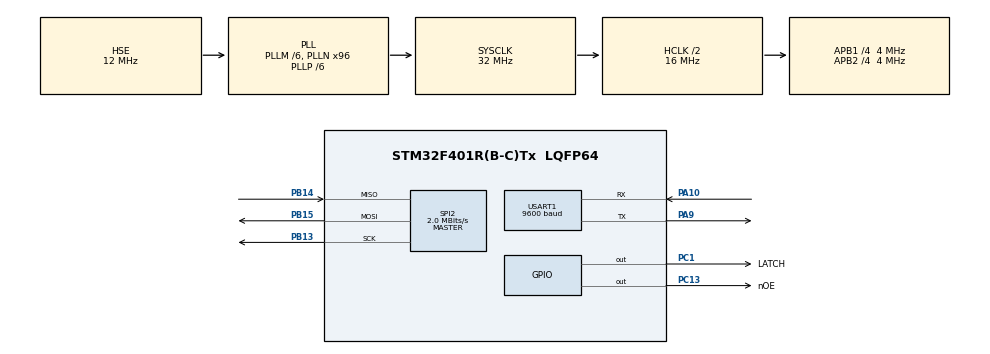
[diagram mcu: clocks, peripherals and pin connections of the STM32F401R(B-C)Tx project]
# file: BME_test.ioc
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Mcu.Family=STM32F4
Mcu.Name=STM32F401R(B-C)Tx
Mcu.Package=LQFP64
NVIC.PriorityGroup=NVIC_PRIORITYGROUP_4
PA10.Mode=Asynchronous
PA10.Signal=USART1_RX
PA9.Mode=Asynchronous
PA9.Signal=USART1_TX
PB13.Mode=Full_Duplex_Master
PB13.Signal=SPI2_SCK
PB14.Mode=Full_Duplex_Master
PB14.Signal=SPI2_MISO
PB15.Mode=Full_Duplex_Master
PB15.Signal=SPI2_MOSI
PC1.GPIO_Label=LATCH
PC1.Signal=GPIO_Output
PC13-ANTI_TAMP.GPIO_Label=nOE
PC13-ANTI_TAMP.Signal=GPIO_Output
PH0\ -\ OSC_IN.Mode=HSE-External-Oscillator
PH0\ -\ OSC_IN.Signal=RCC_OSC_IN
PH1\ -\ OSC_OUT.Mode=HSE-External-Oscillator
PH1\ -\ OSC_OUT.Signal=RCC_OSC_OUT
ProjectManager.HeapSize=0x200
ProjectManager.StackSize=0x400
ProjectManager.TargetToolchain=STM32CubeIDE
RCC.48MHZClocksFreq_Value=48000000
RCC.AHBCLKDivider=RCC_SYSCLK_DIV2
RCC.AHBFreq_Value=16000000
RCC.APB1CLKDivider=RCC_HCLK_DIV4
RCC.APB1Freq_Value=4000000
RCC.APB1TimFreq_Value=8000000
RCC.APB2CLKDivider=RCC_HCLK_DIV4
RCC.APB2Freq_Value=4000000
RCC.APB2TimFreq_Value=8000000
RCC.CortexFreq_Value=2000000
RCC.Cortex_Div=SYSTICK_CLKSOURCE_HCLK_DIV8
RCC.HCLKFreq_Value=16000000
RCC.HSE_VALUE=12000000
RCC.HSI_VALUE=16000000
RCC.LSE_VALUE=32768
RCC.PLLM=6
RCC.PLLN=96
RCC.PLLP=RCC_PLLP_DIV6
RCC.PLLSourceVirtual=RCC_PLLSOURCE_HSE
RCC.SYSCLKFreq_VALUE=32000000
RCC.SYSCLKSource=RCC_SYSCLKSOURCE_PLLCLK
RCC.VCOOutputFreq_Value=192000000
SPI2.BaudRatePrescaler=SPI_BAUDRATEPRESCALER_2
SPI2.CalculateBaudRate=2.0 MBits/s
SPI2.Direction=SPI_DIRECTION_2LINES
SPI2.Mode=SPI_MODE_MASTER
SPI2.VirtualType=VM_MASTER
USART1.BaudRate=9600
USART1.VirtualMode=VM_ASYNC
board=custom

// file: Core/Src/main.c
/* USER CODE BEGIN Header */
/**
  ******************************************************************************
  * @file           : main.c
  * @brief          : Main program body
  ******************************************************************************
  * @attention
  *
  * Copyright (c) 2022 STMicroelectronics.
  * All rights reserved.
  *
  * This software is licensed under terms that can be found in the LICENSE file
  * in the root directory of this software component.
  * If no LICENSE file comes with this software, it is provided AS-IS.
  *
  ******************************************************************************
  */
/* USER CODE END Header */
#include "main.h"

/* USER CODE BEGIN Includes */
#include "string.h"
#include "stdio.h" // why? - printf??
#include "BME_defines.h"
/* USER CODE END Includes */

/* USER CODE BEGIN PD */
#warning dont forget to copypast defines from BME_defines.h
#define BME_latch()   HAL_GPIO_WritePin(BME_LATCH_GPIO_Port, BME_LATCH_Pin, GPIO_PIN_SET);\
  	HAL_Delay(1);\
  	HAL_GPIO_WritePin(BME_LATCH_GPIO_Port, BME_LATCH_Pin, GPIO_PIN_RESET)
#warning why do we need that function above?
/* USER CODE END PD */

 SPI_HandleTypeDef hspi2;

UART_HandleTypeDef huart1;

/* USER CODE BEGIN PV */
char stringBuffer[128];
int32_t temper_int;// intercalculation vars

BME280_CalibData CalibData;
float tf = 0.0f;/*Переменная, куда записываем значение температуры*/
/* USER CODE END PV */

void SystemClock_Config(void);
static void MX_GPIO_Init(void);
static void MX_SPI2_Init(void);
static void MX_USART1_UART_Init(void);

/* USER CODE BEGIN 0 */
int _write(int file, char *ptr, int len){

	HAL_UART_Transmit(&huart1, (uint8_t*)ptr, len, HAL_MAX_DELAY);
	return len;
}
uint8_t buf;
uint8_t BME_regD;
void BME_ShiftRegs(){
			HAL_GPIO_WritePin(BME_nOE_GPIO_Port, BME_nOE_Pin, 1); //shiftreg 2 HiZ
			uint8_t tbuf;
			HAL_GPIO_WritePin(BME_LATCH_GPIO_Port, BME_LATCH_Pin, 0);  //отключаем защёлку

			HAL_SPI_TransmitReceive(&hspi2, &BME_regD, &tbuf, 1, 5000);  //отправляем данные для сдвигового регистра со светодиодами

			HAL_GPIO_WritePin(BME_LATCH_GPIO_Port, BME_LATCH_Pin, 1);  //включаем защёлку
			HAL_GPIO_WritePin(BME_nOE_GPIO_Port, BME_nOE_Pin, 0);  //shitfreg вывести из HiZ
}

void BME_cs(uint8_t flag){
			/*
			 * Данная функция нужна для управления ножкой CS BME280
			 * Если на вход подаётся 0, то на ножке появляется ноль, если другое число, то единица
			 */
		if(flag==0)
			{
			BME_regD &=~(1<<2); // BME CS is OUT2 on shiftreg
			}
		else
			{
			BME_regD |= 1<<2;
			}
		BME_ShiftRegs();
}

/* About spi write in BME:
 * In SPI mode, only 7 bits of the register addresses are used; the MSB of register address is not used and replaced by a read/write bit (RW = '0' for write and RW = '1' for read). Example: address OxF7 is accessed by using SPI register address 0x77. For write access, the byte 0x77 is transferred, for read access, the byte OxF7 is transferred.
 * Writing is done by lowering CSB and sending pairs control bytes and register data. The control bytes consist of the SPI register address (= full register address without bit 7) and the write command (bit7 = RW = '0'). Several pairs can be written without raising CSB. The transaction is ended by a raising CSB. The SPI write protocol is depicted in Figure 12.
 */

void BME_write_reg(uint8_t reg, uint8_t val){
#warning this is nrf copypasta, not sure if it will work
#warning check if uint16_t is needed
	BME_cs(0);

	reg &= BME_WRITE_MASK; // our write mask is ~0x80, e.g. we send 0x77 to access reg 0xF7
	HAL_SPI_TransmitReceive(&hspi2, &reg, &buf, sizeof(reg), 10000);
	HAL_SPI_TransmitReceive(&hspi2, &val, &buf, sizeof(val), 10000);

	BME_cs(1);
}
/* About spi read in BME:
 * Reading is done by lowering CSB and first sending one control byte. The control bytes consist of the SPI register address (= full register address without bit 7) and the read command (bit 7 = RW = '1'). After writing the control byte, data is sent out of the SDO pin (SDI in 3-wire mode); the register address is automatically incremented. The SPI read protocol is depicted in Figure 13.
 * No mask is required for read, we send the reg through SPI
 */
uint8_t BME_read_Data8(uint8_t reg){
#warning this is nrf copypasta, not sure if it will work
	uint8_t rx_data;
	BME_cs(0);

	HAL_SPI_TransmitReceive(&hspi2, &reg, &rx_data, 1, 10000);

	BME_cs(1);

	return rx_data;
}

void BME_read_DataU16(uint8_t reg, uint16_t *rx_data){ // unsigned
#warning this is nrf copypasta, not sure if it will work
	//uint16_t rx_data;
	BME_cs(0);

	HAL_SPI_TransmitReceive(&hspi2, &reg, &rx_data, 2, 10000);

	BME_cs(1);

	return rx_data;
}

void BME_read_DataS16(uint8_t reg, int16_t *rx_data){ // signed
#warning this is nrf copypasta, not sure if it will work
	//uint16_t rx_data;
	BME_cs(0);

	HAL_SPI_TransmitReceive(&hspi2, &reg, &rx_data, 2, 10000);

	BME_cs(1);
}

void BME_read_DataU24(uint8_t reg, uint32_t *rx_data){
#warning this is nrf copypasta, not sure if it will work
	//uint16_t rx_data; - thrash
	BME_cs(0);

	HAL_SPI_TransmitReceive(&hspi2, &reg, &rx_data, 3, 10000);
#warning i am sure that it won't work that way when we are trying to put 3 bytes into the int32, because hal spi recieve makes a uin8t from that
	// maybe i should try HAL_SPI_TransmitReceive(&hspi2, &reg, rx_data, 3, 10000);??

	*(uint32_t *) rx_data &= 0x00FFFFFF; // wtf??? - we clear the first byte.

	BME_cs(1);
}

void BME_read_DataU24_BE(uint8_t reg, uint32_t *rx_data){ // basicly irreversed, cause bme280 should send us reversed data
#warning this is nrf copypasta, not sure if it will work
	//uint16_t rx_data; - thrash
	BME_cs(0);

	HAL_SPI_TransmitReceive(&hspi2, &reg, &rx_data, 3, 10000);

	*(uint32_t *) rx_data = be24toword(*(uint32_t *) rx_data) & 0x00FFFFFF; // wtf??? - we clear the first byte.

	BME_cs(1);
}

void BME_read_DataS24(uint8_t reg, int32_t *rx_data){
#warning this is nrf copypasta, not sure if it will work
	//uint16_t rx_data; - thrash
	BME_cs(0);

	HAL_SPI_TransmitReceive(&hspi2, &reg, &rx_data, 3, 10000);

	BME_cs(1);
}

void BMEReadCalibData(BME280_CalibData *data){
	BME_read_DataU16(BME280_REGISTER_DIG_T1, &(data->dig_T1));HAL_Delay(1);
	BME_read_DataS16(BME280_REGISTER_DIG_T2, &(data->dig_T2));HAL_Delay(1);
	BME_read_DataS16(BME280_REGISTER_DIG_T3, &(data->dig_T3));HAL_Delay(1);
	BME_read_DataU16(BME280_REGISTER_DIG_P1, &(data->dig_P1));HAL_Delay(1); // let's not be hasty
	BME_read_DataS16(BME280_REGISTER_DIG_P2, &(data->dig_P2));HAL_Delay(1);
	BME_read_DataS16(BME280_REGISTER_DIG_P3, &(data->dig_P3));HAL_Delay(1);
	BME_read_DataS16(BME280_REGISTER_DIG_P4, &(data->dig_P4));HAL_Delay(1);
	BME_read_DataS16(BME280_REGISTER_DIG_P5, &(data->dig_P5));HAL_Delay(1);
	BME_read_DataS16(BME280_REGISTER_DIG_P6, &(data->dig_P6));HAL_Delay(1);
	BME_read_DataS16(BME280_REGISTER_DIG_P7, &(data->dig_P7));HAL_Delay(1);
	BME_read_DataS16(BME280_REGISTER_DIG_P8, &(data->dig_P8));HAL_Delay(1);
	BME_read_DataS16(BME280_REGISTER_DIG_P9, &(data->dig_P9));HAL_Delay(1);
	// > &(data->dig_P9) - certified c99 moment, not sure if correct, but gotta be?
}
void BME280_SetMode(uint8_t mode) { // so basicly mode is 2 bits in the MEAS reg, we set them here

  uint8_t reg = BME_read_Data8(BME280_REG_CTRL_MEAS) & ~BME280_MODE_MSK;

  HAL_Delay(10); // debug

  reg |= mode & BME280_MODE_MSK;

  BME_write_reg(BME280_REG_CTRL_MEAS, reg);

}

float BME280_ReadTemperature() // we actually need to do that because we need it to calc the pressure

{

  float temper_float = 0.0f;
  uint32_t temper_raw;
  int32_t val1, val2;// intercalculation vars
#warning code trips on the next line BME_read_DataU24_BE
  BME_read_DataU24_BE(BME280_REGISTER_TEMPDATA,&temper_raw);
  temper_raw >>= 4;

  val1 = ((((temper_raw>>3) - ((int32_t)CalibData.dig_T1 <<1))) * // no idea what is going on
  ((int32_t)CalibData.dig_T2)) >> 11;
  val2 = (((((temper_raw>>4) - ((int32_t)CalibData.dig_T1)) *
  ((temper_raw>>4) - ((int32_t)CalibData.dig_T1))) >> 12) *
  ((int32_t)CalibData.dig_T3)) >> 14;
  temper_int = val1 + val2;

  temper_float = ((temper_int * 5 + 128) >> 8);
  temper_float /= 100.0f;

  return temper_float;

}

float BME280_ReadPressure()

{
  float press_float = 0.0f;
  float temper_float = 0.0f;
  uint32_t press_raw, pres_int;
  int64_t val1, val2, p;

#warning code trips on read temp

  temper_float = BME280_ReadTemperature();
  BME_read_DataU24_BE(BME280_REGISTER_PRESSUREDATA,&press_raw);
  press_raw >>= 4;

  // i have no idea how does this work, if it does?
  val1 = ((int64_t) temper_int) - 128000;
  val2 = val1 * val1 * (int64_t)CalibData.dig_P6;
  val2 = val2 + ((val1 * (int64_t)CalibData.dig_P5) << 17);
  val2 = val2 + ((int64_t)CalibData.dig_P4 << 35);
  val1 = ((val1 * val1 * (int64_t)CalibData.dig_P3) >> 8) + ((val1 * (int64_t)CalibData.dig_P2) << 12);
  val1 = (((((int64_t)1) << 47) + val1)) * ((int64_t)CalibData.dig_P1) >> 33;
  if (val1 == 0) return 0; // avoid exception caused by division by zero
  p = 1048576 - press_raw;
  p = (((p << 31) - val2) * 3125) / val1;
  val1 = (((int64_t)CalibData.dig_P9) * (p >> 13) * (p >> 13)) >> 25;
  val2 = (((int64_t)CalibData.dig_P8) * p) >> 19;
  p = ((p + val1 + val2) >> 8) + ((int64_t)CalibData.dig_P7 << 4);
  pres_int = ((p >> 8) * 1000) + (((p & 0xff) * 390625) / 100000);
  press_float = pres_int / 100.0f;

  return press_float;

}

void BME280_Init(){
	/*
	 * first, we soft-reset.
	 * The self test uses a total wait time of 9 milliseconds. Of this, 2 milliseconds are used as wait time for soft reset and 7 milliseconds are used as wait time for conversion. The soft reset is performed in order to erase any possible old settings and could be omitted if the sensor is known to be in an untouched state after power on.
	 */
	BME_write_reg(BME280_REG_SOFTRESET,BME280_SOFTRESET_VALUE);
	HAL_Delay(10); // let's wait a little
	BMEReadCalibData(&CalibData);
#warning maybe i should comment the BMEReadCalibData???
#warning im not sure, but by default standby timing of the BME should be 0.5 ms.
#warning i should set filtration and oversampling, but **do i need to**?
	BME280_SetMode(BME280_MODE_NORMAL);

}

float workWithBME280(){ // - have no idea what to put in there, so ok.

	/*
	 * I love you, yes I do, I love you
	 * If you break my heart I'll die
	 */

	return 0;
}
/* USER CODE END 0 */

int main(void)
{

  /* MCU Configuration--------------------------------------------------------*/

  /* Reset of all peripherals, Initializes the Flash interface and the Systick. */
  HAL_Init();

  /* Configure the system clock */
  SystemClock_Config();

  /* Initialize all configured peripherals */
  MX_GPIO_Init();
  MX_SPI2_Init();
  MX_USART1_UART_Init();
  /* USER CODE BEGIN 2 */
  HAL_Delay(1000);
  //printf("innit\r\n");
  BME280_Init();
  /* USER CODE END 2 */

  /* Infinite loop */
  /* USER CODE BEGIN WHILE */
  while (1)
  {
	//printf("hello\n"); // if I have set the frequency on 8 MHZ the uart doesn' work
	//float result = BME280_ReadPressure();
	float result = BME280_ReadPressure();
	HAL_Delay(2000);
	printf("%f\r\n", result);
    /* USER CODE END WHILE */

  }
}

void SystemClock_Config(void)
{
  RCC_OscInitTypeDef RCC_OscInitStruct = {0};
  RCC_ClkInitTypeDef RCC_ClkInitStruct = {0};

  /** Configure the main internal regulator output voltage
  */
  __HAL_RCC_PWR_CLK_ENABLE();
  __HAL_PWR_VOLTAGESCALING_CONFIG(PWR_REGULATOR_VOLTAGE_SCALE2);

  /** Initializes the RCC Oscillators according to the specified parameters
  * in the RCC_OscInitTypeDef structure.
  */
  RCC_OscInitStruct.OscillatorType = RCC_OSCILLATORTYPE_HSE;
  RCC_OscInitStruct.HSEState = RCC_HSE_ON;
  RCC_OscInitStruct.PLL.PLLState = RCC_PLL_ON;
  RCC_OscInitStruct.PLL.PLLSource = RCC_PLLSOURCE_HSE;
  RCC_OscInitStruct.PLL.PLLM = 6;
  RCC_OscInitStruct.PLL.PLLN = 96;
  RCC_OscInitStruct.PLL.PLLP = RCC_PLLP_DIV6;
  RCC_OscInitStruct.PLL.PLLQ = 4;
  if (HAL_RCC_OscConfig(&RCC_OscInitStruct) != HAL_OK)
  {
    Error_Handler();
  }

  /** Initializes the CPU, AHB and APB buses clocks
  */
  RCC_ClkInitStruct.ClockType = RCC_CLOCKTYPE_HCLK|RCC_CLOCKTYPE_SYSCLK
                              |RCC_CLOCKTYPE_PCLK1|RCC_CLOCKTYPE_PCLK2;
  RCC_ClkInitStruct.SYSCLKSource = RCC_SYSCLKSOURCE_PLLCLK;
  RCC_ClkInitStruct.AHBCLKDivider = RCC_SYSCLK_DIV2;
  RCC_ClkInitStruct.APB1CLKDivider = RCC_HCLK_DIV4;
  RCC_ClkInitStruct.APB2CLKDivider = RCC_HCLK_DIV4;

  if (HAL_RCC_ClockConfig(&RCC_ClkInitStruct, FLASH_LATENCY_0) != HAL_OK)
  {
    Error_Handler();
  }
}

static void MX_SPI2_Init(void)
{

  /* SPI2 parameter configuration*/
  hspi2.Instance = SPI2;
  hspi2.Init.Mode = SPI_MODE_MASTER;
  hspi2.Init.Direction = SPI_DIRECTION_2LINES;
  hspi2.Init.DataSize = SPI_DATASIZE_8BIT;
  hspi2.Init.CLKPolarity = SPI_POLARITY_LOW;
  hspi2.Init.CLKPhase = SPI_PHASE_1EDGE;
  hspi2.Init.NSS = SPI_NSS_SOFT;
  hspi2.Init.BaudRatePrescaler = SPI_BAUDRATEPRESCALER_2;
  hspi2.Init.FirstBit = SPI_FIRSTBIT_MSB;
  hspi2.Init.TIMode = SPI_TIMODE_DISABLE;
  hspi2.Init.CRCCalculation = SPI_CRCCALCULATION_DISABLE;
  hspi2.Init.CRCPolynomial = 10;
  if (HAL_SPI_Init(&hspi2) != HAL_OK)
  {
    Error_Handler();
  }

}

static void MX_USART1_UART_Init(void)
{

  huart1.Instance = USART1;
  huart1.Init.BaudRate = 9600;
  huart1.Init.WordLength = UART_WORDLENGTH_8B;
  huart1.Init.StopBits = UART_STOPBITS_1;
  huart1.Init.Parity = UART_PARITY_NONE;
  huart1.Init.Mode = UART_MODE_TX_RX;
  huart1.Init.HwFlowCtl = UART_HWCONTROL_NONE;
  huart1.Init.OverSampling = UART_OVERSAMPLING_16;
  if (HAL_UART_Init(&huart1) != HAL_OK)
  {
    Error_Handler();
  }

}

static void MX_GPIO_Init(void)
{
  GPIO_InitTypeDef GPIO_InitStruct = {0};

  /* GPIO Ports Clock Enable */
  __HAL_RCC_GPIOC_CLK_ENABLE();
  __HAL_RCC_GPIOH_CLK_ENABLE();
  __HAL_RCC_GPIOB_CLK_ENABLE();
  __HAL_RCC_GPIOA_CLK_ENABLE();

  /*Configure GPIO pin Output Level */
  HAL_GPIO_WritePin(GPIOC, nOE_Pin|LATCH_Pin, GPIO_PIN_RESET);

  /*Configure GPIO pins : nOE_Pin LATCH_Pin */
  GPIO_InitStruct.Pin = nOE_Pin|LATCH_Pin;
  GPIO_InitStruct.Mode = GPIO_MODE_OUTPUT_PP;
  GPIO_InitStruct.Pull = GPIO_NOPULL;
  GPIO_InitStruct.Speed = GPIO_SPEED_FREQ_LOW;
  HAL_GPIO_Init(GPIOC, &GPIO_InitStruct);

}

void Error_Handler(void)
{
  __disable_irq();
  while (1)
  {
  }
}
